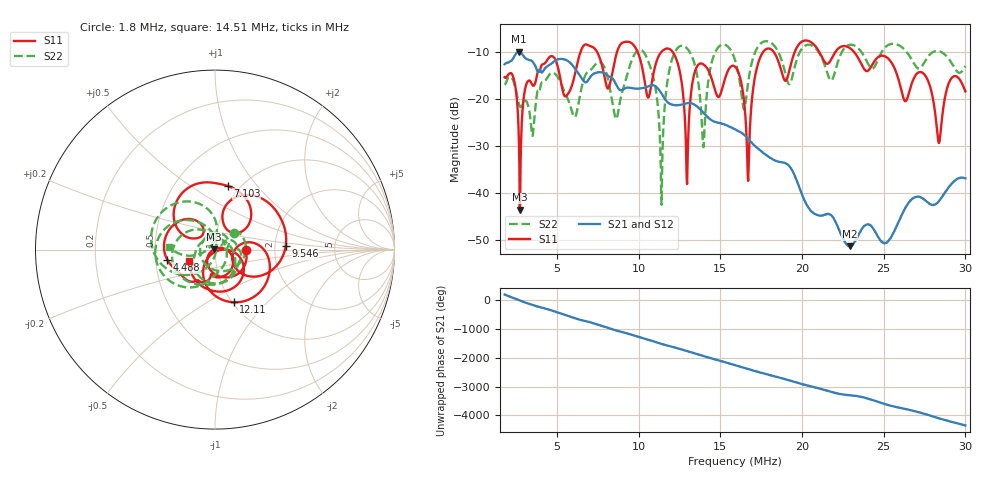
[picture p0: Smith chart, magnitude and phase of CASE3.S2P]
!Agilent Technologies,E5061B,MY49101568,A.02.00
!Date: Wed Mar 01 14:25:09 2023
!Data & Calibration Information:
!Freq	S11:SOLT2(OFF)	S21:SOLT2(OFF)	S12:SOLT2(OFF)	S22:SOLT2(OFF)
# Hz S dB R 50
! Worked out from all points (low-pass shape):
!   1155 points, 1.8 MHz to 30 MHz, reference 50 ohm
!   highest |S21| = -9.96 dB at 2.68 MHz (marker M1); lowest = -51.4 dB at 22.91 MHz (marker M2)
!   |S21| within 3 dB of the highest: start of sweep to 3.672 MHz; 4.455 MHz to 5.981 MHz (1.526 MHz wide, 29.2 % of centre)
!   lowest |S11| = -43.6 dB at 2.729 MHz (marker M3), VSWR 1.01, Z = 49.4 + j0.0883 ohm
!   |S11| at or under -10 dB: start of sweep to 6.446 MHz; 12.08 MHz to 17.62 MHz (5.54 MHz wide, 37.3 % of centre); 23.19 MHz to end of sweep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
!   |S22| runs from -42.6 to -7.7 dB; largest |S21 - S12| = 0.004
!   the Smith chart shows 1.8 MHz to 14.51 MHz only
!   S11 on the Smith chart (normalised r, x): 1.8 MHz: 1.41, -0.01; 4.488 MHz: 0.58, -0.07; 7.103 MHz: 0.88, +0.72; 9.546 MHz: 2.30, +0.11; 12.11 MHz: 1.01, -0.66; 14.51 MHz: 0.74, -0.10
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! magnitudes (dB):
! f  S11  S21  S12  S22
! 1.8 MHz  -15.4  -12.6  -12.6  -17.0
! 2.68 MHz  -29.7  -10.0  -9.9  -21.2
! 2.729 MHz  -43.6  -10.0  -10.0  -21.6
! 4.488 MHz  -11.3  -12.9  -12.9  -15.1
! 6.516 MHz  -9.4  -15.6  -15.6  -17.5
! 7.103 MHz  -8.8  -15.1  -15.0  -13.7
! 8.618 MHz  -10.8  -16.9  -16.8  -24.3
! 9.546 MHz  -8.1  -17.7  -17.7  -12.1
! 11.21 MHz  -11.0  -17.9  -17.9  -22.7
! 11.43 MHz  -9.9  -19.0  -19.0  -37.2
! 12.11 MHz  -10.1  -21.3  -21.4  -10.9
! 12.94 MHz  -36.9  -20.9  -21.0  -9.2
! 13.95 MHz  -12.6  -22.9  -22.9  -30.1
! 14.51 MHz  -16.1  -24.6  -24.7  -11.8
! 15.9 MHz  -13.1  -26.5  -26.6  -11.7
! 16.71 MHz  -37.5  -28.5  -28.5  -16.4
! 17.56 MHz  -10.3  -31.3  -31.4  -8.0
! 20.62 MHz  -8.1  -44.1  -44.1  -8.7
! 22.91 MHz  -9.1  -51.4  -51.4  -8.5
! 25.31 MHz  -11.5  -50.2  -50.1  -8.5
! 28.36 MHz  -29.4  -41.9  -41.8  -9.8
! 30 MHz  -18.4  -37.0  -36.9  -13.0
